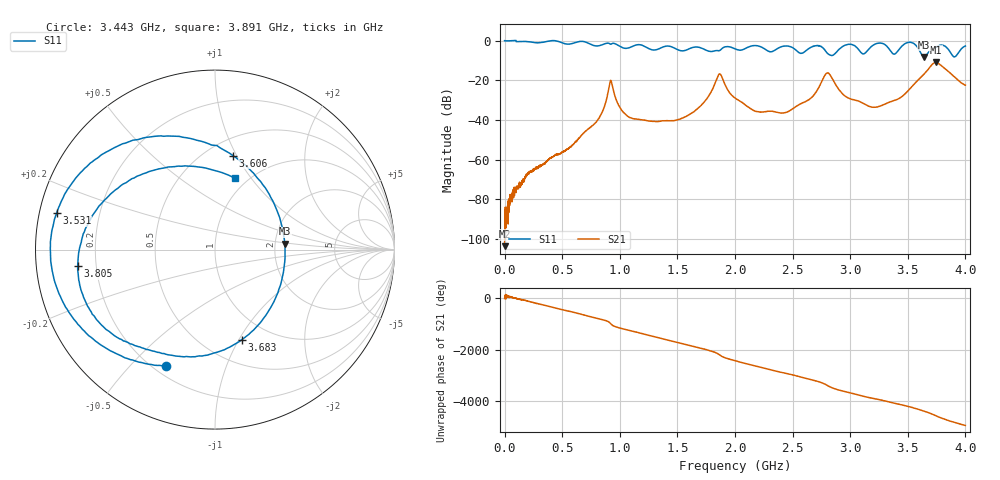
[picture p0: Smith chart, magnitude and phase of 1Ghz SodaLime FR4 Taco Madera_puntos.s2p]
! NanoVNA-App
! Date: 2025-10-30 21:27:15
! Start: 10kHz Stop: 4GHz Points: 3201
! S-Parameter data: F S11 S21 S12 S22
# Hz S RI R 50
!  Frequency  S11_Real  S11_Imag  S21_Real  S21_Imag  S12_Real  S12_Imag  S22_Real  S22_Imag
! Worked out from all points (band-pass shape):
!   3201 points, 10 kHz to 4 GHz, reference 50 ohm
!   highest |S21| = -10.98 dB at 3.743 GHz (marker M1); lowest = -103.8 dB at 10 kHz (marker M2)
!   |S21| within 3 dB of the highest: 3.683 GHz to 3.821 GHz (137.2 MHz wide, 3.66 % of centre)
!   lowest |S11| = -8.2 dB at 3.641 GHz (marker M3), VSWR 2.28, Z = 113 + j8.57 ohm
!   |S11| at or under -10 dB: nowhere
!   S12 and S22 are empty: the file has one direction only
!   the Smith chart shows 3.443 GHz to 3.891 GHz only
!   S11 on the Smith chart (normalised r, x): 3.443 GHz: 0.25, -0.64; 3.531 GHz: 0.05, +0.11; 3.606 GHz: 0.66, +0.97; 3.683 GHz: 0.74, -1.03; 3.805 GHz: 0.13, -0.06; 3.891 GHz: 0.87, +0.84
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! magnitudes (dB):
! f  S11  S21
! 10 kHz  0.0  -103.8
! 667.5 MHz  -0.3  -47.7
! 921.3 MHz  -1.8  -20.0
! 1.063 GHz  -3.8  -37.8
! 1.334 GHz  -4.2  -40.8
! 1.645 GHz  -3.2  -35.8
! 1.865 GHz  -5.0  -16.8
! 2 GHz  -4.1  -29.0
! 2.404 GHz  -3.0  -36.6
! 2.668 GHz  -3.1  -28.5
! 2.805 GHz  -6.5  -16.3
! 2.985 GHz  -1.8  -29.0
! 3.334 GHz  -3.8  -31.2
! 3.443 GHz  -3.1  -28.4
! 3.531 GHz  -0.9  -23.4
! 3.606 GHz  -5.5  -18.9
! 3.641 GHz  -8.2  -16.8
! 3.683 GHz  -5.6  -14.0
! 3.743 GHz  -3.3  -11.0
! 3.805 GHz  -2.3  -13.2
! 3.891 GHz  -7.6  -17.5
! 4 GHz  -2.6  -22.5
